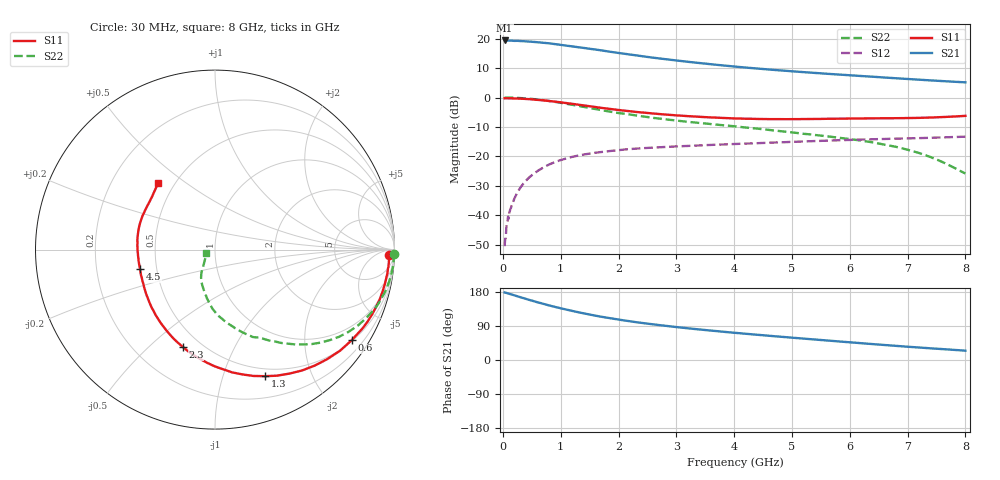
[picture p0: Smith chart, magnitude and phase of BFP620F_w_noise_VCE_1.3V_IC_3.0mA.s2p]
! Infineon Technologies  Discrete & RF Semiconductors
! BFP620F
! VCE =  1.3 V,  IC =  3.0 mA
! Common Emitter S-Parameters:  Dec 2014
# GHz  S  MA  R  50
!  f  S11  S21  S12  S22
! GHz  MAG  ANG  MAG  ANG  MAG  ANG  MAG  ANG
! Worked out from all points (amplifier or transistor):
!   95 points, 30 MHz to 8 GHz, reference 50 ohm
!   highest |S21| = 19.4 dB at 30 MHz (marker M1)
!   |S21| within 3 dB of that: start of sweep to 1.569 GHz
!   unconditionally stable (mu >= 1): 6.094 GHz to end of sweep
!   at 300 MHz: K = 0.02, MSG = 24.9 dB, |S12| = -30.7 dB
!   at 3.3 GHz: K = 0.69, MSG = 14.1 dB, |S12| = -16.3 dB
!   at 8 GHz: K = 1.15, MAG = 6.9 dB, |S12| = -13.3 dB
!   lowest NFmin = 0.51 dB at 450 MHz
!   S11 on the Smith chart (normalised r, x): 30 MHz: 34, -34; 600 MHz: 0.53, -3.23; 1.3 GHz: 0.42, -1.38; 2.3 GHz: 0.40, -0.64; 4.5 GHz: 0.40, -0.11; 8 GHz: 0.41, +0.40
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0.03  0.9713 -1.7  9.319 178.2  0.003 89.7  0.9991 -1.3
0.04  0.9728 -2.2  9.213 177.7  0.004 89.1  0.9993 -1.7
0.09  0.9707 -5.1  9.313 175.6  0.0096 89.7  0.9968 -3.8
0.2  0.9658 -11.3  9.165 170.6  0.0194 83.6  0.9909 -8.3
0.35  0.9522 -19.8  9.065 163.5  0.0341 79.4  0.9746 -14.4
0.6  0.9135 -33.6  8.692 152.3  0.0567 71.2  0.925 -24.3
0.8  0.8739 -44.3  8.338 144.0  0.073 65.0  0.8742 -31.6
0.9  0.8523 -49.3  8.089 140.2  0.0803 62.0  0.8448 -35.1
1.1  0.8059 -59.0  7.602 133.0  0.0928 56.7  0.7828 -41.5
1.3  0.758 -68.5  7.157 126.2  0.1034 52.0  0.7227 -47.0
1.4  0.7357 -73.1  6.959 123.0  0.1079 49.9  0.6942 -49.6
1.6  0.691 -82.0  6.537 117.0  0.1158 46.2  0.6383 -54.6
1.8  0.6511 -90.0  6.11 111.7  0.122 43.0  0.589 -59.3
2.1  0.5996 -101.5  5.546 104.3  0.131 38.9  0.5322 -66.4
2.3  0.5705 -108.4  5.212 99.9  0.1358 36.5  0.4975 -70.2
2.7  0.5258 -120.9  4.625 92.2  0.143 32.8  0.4402 -77.0
3.3  0.4781 -137.6  3.948 82.1  0.1525 28.9  0.3791 -85.5
4.1  0.4404 -156.7  3.298 70.6  0.164 24.9  0.3178 -93.8
4.5  0.4318 -165.4  3.052 65.3  0.1696 23.3  0.2899 -97.3
5.4  0.4334 176.8  2.618 54.0  0.1827 19.7  0.2316 -105.9
6.7  0.4457 152.9  2.158 38.5  0.1993 14.2  0.1522 -119.9
8  0.489 130.6  1.812 24.6  0.2166 9.6  0.0514 -161.2
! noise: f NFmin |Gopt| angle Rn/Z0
0.45  0.51  0.54  10  0.3
0.9  0.6  0.52  20  0.26
1.5  0.69  0.47  29  0.25
1.8  0.73  0.45  32  0.25
1.9  0.74  0.4  43  0.26
2.4  0.81  0.37  57  0.24
3.5  0.96  0.35  80  0.18
5.5  1.2  0.23  149  0.15
6  1.26  0.19  163  0.29
